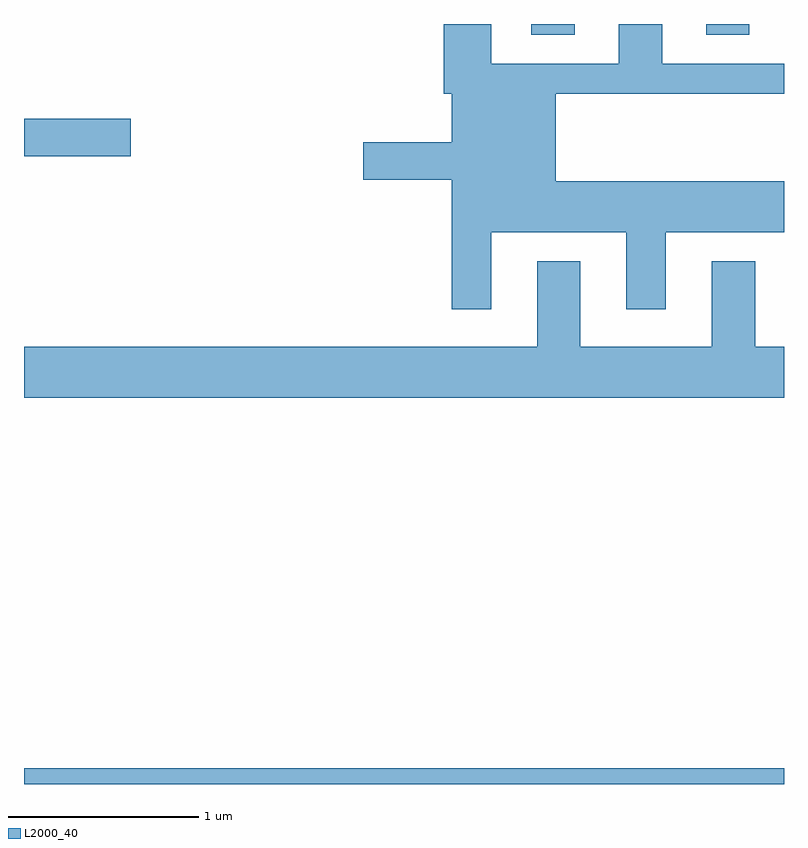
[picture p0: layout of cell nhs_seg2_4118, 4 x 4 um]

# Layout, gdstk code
import gdstk
lib = gdstk.Library(unit=1e-6, precision=1e-09)
def R(c, l, rs):  # rectangles x0, y0, x1, y1
    for r in rs: c.add(gdstk.rectangle(r[:2], r[2:], *l))
def P(c, l, *ps):  # polygons
    for p in ps: c.add(gdstk.Polygon(p, *l))
L2000_40 = (2000, 40)

nhs_seg2_4118 = lib.new_cell('nhs_seg2_4118')
R(nhs_seg2_4118, L2000_40, [(305.611,1081.802,309.611,1081.884), (305.611,1085.106,306.174,1085.304), (308.281,1085.746,308.509,1085.802), (309.201,1085.746,309.429,1085.802)])
P(nhs_seg2_4118, L2000_40, [(308.069,1084.706),(308.781,1084.706),(308.781,1084.301),(308.989,1084.301),(308.989,1084.706),(309.611,1084.706),(309.611,1084.974),(308.409,1084.974),(308.409,1085.436),(309.611,1085.436),(309.611,1085.594),(308.969,1085.594),(308.969,1085.802),(308.741,1085.802),(308.741,1085.594),(308.069,1085.594),(308.069,1085.802),(307.821,1085.802),(307.821,1085.436),(307.861,1085.436),(307.861,1085.179),(307.396,1085.179),(307.396,1084.981),(307.861,1084.981),(307.861,1084.301),(308.069,1084.301)],
  [(309.611,1084.104),(309.459,1084.104),(309.459,1084.554),(309.231,1084.554),(309.231,1084.104),(308.539,1084.104),(308.539,1084.554),(308.311,1084.554),(308.311,1084.104),(305.611,1084.104),(305.611,1083.836),(309.611,1083.836)])

lib.write_gds('nhs_seg2_4118.gds')
